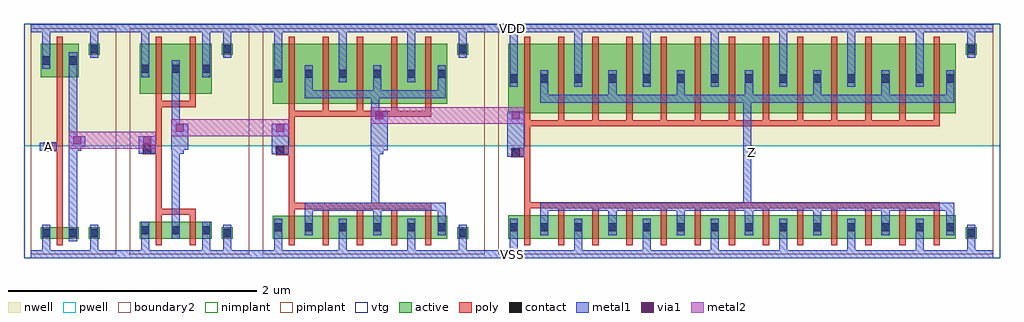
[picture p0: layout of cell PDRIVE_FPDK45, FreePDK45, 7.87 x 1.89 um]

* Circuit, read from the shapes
.subckt PDRIVE_FPDK45 A VDD VSS Z
M1 n1 A VSS VSS nfet w=0.09u l=0.05u
M2 n2 n1 VSS VSS nfet w=0.135u l=0.05u m=2
M3 n3 n2 VSS VSS nfet w=0.1825u l=0.05u m=5
M4 Z n3 VSS VSS nfet w=0.1875u l=0.05u m=13
M5 n1 A VDD VDD pfet w=0.27u l=0.05u
M6 n2 n1 VDD VDD pfet w=0.405u l=0.05u m=2
M7 n3 n2 VDD VDD pfet w=0.485u l=0.05u m=5
M8 Z n3 VDD VDD pfet w=0.56u l=0.05u m=13
.ends

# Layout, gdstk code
import gdstk
lib = gdstk.Library(unit=1e-6, precision=5e-10)
def R(c, l, rs):  # rectangles x0, y0, x1, y1
    for r in rs: c.add(gdstk.rectangle(r[:2], r[2:], *l))
def A(c, l, x, y, w, h, nx, ny, dx, dy):  # array of equal rectangles
    R(c, l, [(x+i*dx, y+j*dy, x+i*dx+w, y+j*dy+h) for i in range(nx) for j in range(ny)])
active = (1, 0)
pwell = (2, 0)
nwell = (3, 0)
nimplant = (4, 0)
pimplant = (5, 0)
vtg = (6, 0)
poly = (9, 0)
contact = (10, 0)
metal1 = (11, 0)
via1 = (12, 0)
metal2 = (13, 0)
boundary2 = (239, 0)

teamb_clone__inv1__pinv_ = lib.new_cell('TEAMB_CLONE__inv1__PINV_NW90_PW270_L50__TRANSMISSION_GATE_NW250_PW500_L50_contact_8')
R(teamb_clone__inv1__pinv_, active, [(0,0.0225,0.09,0.1125), (0,0.0225,0.09,0.1125), (0,0.0225,0.09,0.1125)])
R(teamb_clone__inv1__pinv_, nwell, [(-0.055,-0.0325,0.145,0.1675), (-0.055,-0.0325,0.145,0.1675), (-0.055,-0.0325,0.145,0.1675)])
R(teamb_clone__inv1__pinv_, pimplant, [(0,0.0225,0.09,0.1125), (0,0.0225,0.09,0.1125), (0,0.0225,0.09,0.1125)])
R(teamb_clone__inv1__pinv_, contact, [(0.0125,0.035,0.0775,0.1), (0.0125,0.035,0.0775,0.1), (0.0125,0.035,0.0775,0.1)])
R(teamb_clone__inv1__pinv_, metal1, [(0.0125,0,0.0775,0.135), (0.0125,0,0.0775,0.135), (0.0125,0,0.0775,0.135)])
R(teamb_clone__inv1__pinv_, boundary2, [(-0.055,-0.0325,0.145,0.1675), (-0.055,-0.0325,0.145,0.1675), (-0.055,-0.0325,0.145,0.1675)])

c_teamb_clone__inv1__pinv_ = lib.new_cell('TEAMB_CLONE__inv1__PINV_NW90_PW270_L50__PINV_NW180_PW270_L50_pmos_m1_w0_270_sm1_dm1_da_p')
R(c_teamb_clone__inv1__pinv_, active, [(0,0,0.305,0.27), (0,0,0.305,0.27), (0,0,0.305,0.27)])
R(c_teamb_clone__inv1__pinv_, nwell, [(-0.08,-0.08,0.385,0.35), (-0.08,-0.08,0.385,0.35), (-0.08,-0.08,0.385,0.35)])
R(c_teamb_clone__inv1__pinv_, pimplant, [(0,0,0.305,0.27), (0,0,0.305,0.27), (0,0,0.305,0.27)])
R(c_teamb_clone__inv1__pinv_, vtg, [(-0.08,-0.08,0.385,0.35), (-0.08,-0.08,0.385,0.35), (-0.08,-0.08,0.385,0.35)])
R(c_teamb_clone__inv1__pinv_, poly, [(0.1275,-0.055,0.1775,0.325), (0.1275,-0.055,0.1775,0.325), (0.1275,-0.055,0.1775,0.325), (0.1275,-0.055,0.1775,0.325), (0.1275,-0.055,0.1775,0.325), (0.1275,-0.055,0.1775,0.325)])
R(c_teamb_clone__inv1__pinv_, metal1, [(0.0125,0.0675,0.0775,0.2025), (0.0125,0.0675,0.0775,0.2025), (0.0125,0.0675,0.0775,0.2025), (0.2275,0.0675,0.2925,0.2025), (0.2275,0.0675,0.2925,0.2025), (0.2275,0.0675,0.2925,0.2025)])
R(c_teamb_clone__inv1__pinv_, boundary2, [(-0.08,-0.08,0.385,0.35), (-0.08,-0.08,0.385,0.35), (-0.08,-0.08,0.385,0.35)])
c_teamb_clone__inv1__pinv_.add(gdstk.Reference(teamb_clone__inv1__pinv_, (0,0.0675)))
c_teamb_clone__inv1__pinv_.add(gdstk.Reference(teamb_clone__inv1__pinv_, (0.215,0.0675)))

c_teamb_clone__inv1__pinv__ = lib.new_cell('TEAMB_CLONE__inv1__PINV_NW90_PW270_L50__TRANSMISSION_GATE_NW250_PW500_L50_contact_7')
R(c_teamb_clone__inv1__pinv__, active, [(0,0.0225,0.09,0.1125), (0,0.0225,0.09,0.1125), (0,0.0225,0.09,0.1125)])
R(c_teamb_clone__inv1__pinv__, pwell, [(-0.055,-0.0325,0.145,0.1675), (-0.055,-0.0325,0.145,0.1675), (-0.055,-0.0325,0.145,0.1675)])
R(c_teamb_clone__inv1__pinv__, nimplant, [(0,0.0225,0.09,0.1125), (0,0.0225,0.09,0.1125), (0,0.0225,0.09,0.1125)])
R(c_teamb_clone__inv1__pinv__, contact, [(0.0125,0.035,0.0775,0.1), (0.0125,0.035,0.0775,0.1), (0.0125,0.035,0.0775,0.1)])
R(c_teamb_clone__inv1__pinv__, metal1, [(0.0125,0,0.0775,0.135), (0.0125,0,0.0775,0.135), (0.0125,0,0.0775,0.135)])
R(c_teamb_clone__inv1__pinv__, boundary2, [(-0.055,-0.0325,0.145,0.1675), (-0.055,-0.0325,0.145,0.1675), (-0.055,-0.0325,0.145,0.1675)])

c_teamb_clone__inv1__pinv___ = lib.new_cell('TEAMB_CLONE__inv1__PINV_NW90_PW270_L50__PINV_NW90_PW270_L50_nmos_m1_w0_090_sm1_dm1_da_p')
R(c_teamb_clone__inv1__pinv___, active, [(0,0,0.305,0.09), (0,0,0.305,0.09), (0,0,0.305,0.09)])
R(c_teamb_clone__inv1__pinv___, pwell, [(-0.08,-0.08,0.385,0.17), (-0.08,-0.08,0.385,0.17), (-0.08,-0.08,0.385,0.17)])
R(c_teamb_clone__inv1__pinv___, nimplant, [(0,0,0.305,0.09), (0,0,0.305,0.09), (0,0,0.305,0.09)])
R(c_teamb_clone__inv1__pinv___, vtg, [(-0.08,-0.08,0.385,0.17), (-0.08,-0.08,0.385,0.17), (-0.08,-0.08,0.385,0.17)])
R(c_teamb_clone__inv1__pinv___, poly, [(0.1275,-0.055,0.1775,0.145), (0.1275,-0.055,0.1775,0.145), (0.1275,-0.055,0.1775,0.145), (0.1275,-0.055,0.1775,0.145), (0.1275,-0.055,0.1775,0.145), (0.1275,-0.055,0.1775,0.145)])
R(c_teamb_clone__inv1__pinv___, metal1, [(0.0125,-0.0225,0.0775,0.1125), (0.0125,-0.0225,0.0775,0.1125), (0.0125,-0.0225,0.0775,0.1125), (0.2275,-0.0225,0.2925,0.1125), (0.2275,-0.0225,0.2925,0.1125), (0.2275,-0.0225,0.2925,0.1125)])
R(c_teamb_clone__inv1__pinv___, boundary2, [(-0.08,-0.08,0.385,0.17), (-0.08,-0.08,0.385,0.17), (-0.08,-0.08,0.385,0.17)])
c_teamb_clone__inv1__pinv___.add(gdstk.Reference(c_teamb_clone__inv1__pinv__, (0,-0.0225)))
c_teamb_clone__inv1__pinv___.add(gdstk.Reference(c_teamb_clone__inv1__pinv__, (0.215,-0.0225)))

c_teamb_clone__inv1__pinv____ = lib.new_cell('TEAMB_CLONE__inv1__PINV_NW90_PW270_L50__TRANSMISSION_GATE_NW250_PW500_L50_contact_9')
R(c_teamb_clone__inv1__pinv____, active, [(0,0.0225,0.09,0.1125), (0,0.0225,0.09,0.1125), (0,0.0225,0.09,0.1125)])
R(c_teamb_clone__inv1__pinv____, nwell, [(-0.055,-0.0325,0.145,0.1675), (-0.055,-0.0325,0.145,0.1675), (-0.055,-0.0325,0.145,0.1675)])
R(c_teamb_clone__inv1__pinv____, nimplant, [(0,0.0225,0.09,0.1125), (0,0.0225,0.09,0.1125), (0,0.0225,0.09,0.1125)])
R(c_teamb_clone__inv1__pinv____, contact, [(0.0125,0.035,0.0775,0.1), (0.0125,0.035,0.0775,0.1), (0.0125,0.035,0.0775,0.1)])
R(c_teamb_clone__inv1__pinv____, metal1, [(0.0125,0,0.0775,0.135), (0.0125,0,0.0775,0.135), (0.0125,0,0.0775,0.135)])
R(c_teamb_clone__inv1__pinv____, boundary2, [(-0.055,-0.0325,0.145,0.1675), (-0.055,-0.0325,0.145,0.1675), (-0.055,-0.0325,0.145,0.1675)])

c_teamb_clone__inv1__pinv_____ = lib.new_cell('TEAMB_CLONE__inv1__PINV_NW90_PW270_L50__TRANSMISSION_GATE_NW250_PW500_L50_contact_10')
R(c_teamb_clone__inv1__pinv_____, active, [(0,0.0225,0.09,0.1125), (0,0.0225,0.09,0.1125), (0,0.0225,0.09,0.1125)])
R(c_teamb_clone__inv1__pinv_____, pwell, [(-0.055,-0.0325,0.145,0.1675), (-0.055,-0.0325,0.145,0.1675), (-0.055,-0.0325,0.145,0.1675)])
R(c_teamb_clone__inv1__pinv_____, pimplant, [(0,0.0225,0.09,0.1125), (0,0.0225,0.09,0.1125), (0,0.0225,0.09,0.1125)])
R(c_teamb_clone__inv1__pinv_____, contact, [(0.0125,0.035,0.0775,0.1), (0.0125,0.035,0.0775,0.1), (0.0125,0.035,0.0775,0.1)])
R(c_teamb_clone__inv1__pinv_____, metal1, [(0.0125,0,0.0775,0.135), (0.0125,0,0.0775,0.135), (0.0125,0,0.0775,0.135)])
R(c_teamb_clone__inv1__pinv_____, boundary2, [(-0.055,-0.0325,0.145,0.1675), (-0.055,-0.0325,0.145,0.1675), (-0.055,-0.0325,0.145,0.1675)])

c_teamb_clone__inv1__pinv______ = lib.new_cell('TEAMB_CLONE__inv1__PINV_NW90_PW270_L50__PINV_NW180_PW270_L50_contact_11')
R(c_teamb_clone__inv1__pinv______, poly, [(0.03,0,0.105,0.075), (0.03,0,0.105,0.075), (0.03,0,0.105,0.075)])
R(c_teamb_clone__inv1__pinv______, contact, [(0.035,0.005,0.1,0.07), (0.035,0.005,0.1,0.07), (0.035,0.005,0.1,0.07)])
R(c_teamb_clone__inv1__pinv______, metal1, [(0,0.005,0.135,0.07), (0,0.005,0.135,0.07), (0,0.005,0.135,0.07)])
R(c_teamb_clone__inv1__pinv______, boundary2, [(0,0,0.135,0.075), (0,0,0.135,0.075), (0,0,0.135,0.075)])

c_teamb_clone__inv1__pinv_______ = lib.new_cell('TEAMB_CLONE__inv1__PINV_NW90_PW270_L50__PINV_NW90_PW270_L50_core')
R(c_teamb_clone__inv1__pinv_______, pwell, [(-0.055,-0.0325,0.7425,0.8725), (-0.055,-0.0325,0.7425,0.8725), (-0.055,-0.0325,0.7425,0.8725)])
R(c_teamb_clone__inv1__pinv_______, nwell, [(-0.055,0.8725,0.7425,1.855), (-0.055,0.8725,0.7425,1.855), (-0.055,0.8725,0.7425,1.855)])
R(c_teamb_clone__inv1__pinv_______, vtg, [(-0.055,-0.0325,0.7425,0.8725), (-0.055,-0.0325,0.7425,0.8725), (-0.055,-0.0325,0.7425,0.8725), (-0.055,0.8725,0.7425,1.855), (-0.055,0.8725,0.7425,1.855), (-0.055,0.8725,0.7425,1.855)])
R(c_teamb_clone__inv1__pinv_______, poly, [(0.2075,0.27,0.2575,1.37), (0.2075,0.27,0.2575,1.37), (0.2075,0.27,0.2575,1.37), (0.14,0.8275,0.2075,0.9025), (0.14,0.8275,0.2075,0.9025), (0.14,0.8275,0.2075,0.9025)])
R(c_teamb_clone__inv1__pinv_______, metal1, [(0,-0.0325,0.6875,0.0325), (0,-0.0325,0.6875,0.0325), (0,-0.0325,0.6875,0.0325), (0.0925,-0.0325,0.1575,0.1025), (0.0925,-0.0325,0.1575,0.1025), (0.0925,-0.0325,0.1575,0.1025), (0.4775,0,0.5425,0.17), (0.4775,0,0.5425,0.17), (0.4775,0,0.5425,0.17), (0.3075,0.1025,0.3725,1.6275), (0.3075,0.1025,0.3725,1.6275), (0.3075,0.1025,0.3725,1.6275), (0.0725,0.8325,0.2075,0.8975), (0.0725,0.8325,0.2075,0.8975), (0.0725,0.8325,0.2075,0.8975), (0.34,0.8325,0.405,0.8975), (0.34,0.8325,0.405,0.8975), (0.34,0.8325,0.405,0.8975), (0.0925,1.4925,0.1575,1.8525), (0.0925,1.4925,0.1575,1.8525), (0.0925,1.4925,0.1575,1.8525), (0.4775,1.65,0.5425,1.82), (0.4775,1.65,0.5425,1.82), (0.4775,1.65,0.5425,1.82), (0,1.7875,0.6875,1.8525), (0,1.7875,0.6875,1.8525), (0,1.7875,0.6875,1.8525)])
R(c_teamb_clone__inv1__pinv_______, boundary2, [(0,0,0.6875,1.82), (0,0,0.6875,1.82), (0,0,0.6875,1.82), (0,0,0.6875,1.82), (0,0,0.6875,1.82), (0,0,0.6875,1.82)])
c_teamb_clone__inv1__pinv_______.add(gdstk.Reference(c_teamb_clone__inv1__pinv_, (0.08,1.425)))
c_teamb_clone__inv1__pinv_______.add(gdstk.Reference(c_teamb_clone__inv1__pinv___, (0.08,0.125)))
c_teamb_clone__inv1__pinv_______.add(gdstk.Reference(c_teamb_clone__inv1__pinv____, (0.465,1.5825)))
c_teamb_clone__inv1__pinv_______.add(gdstk.Reference(c_teamb_clone__inv1__pinv_____, (0.465,0.1025)))
c_teamb_clone__inv1__pinv_______.add(gdstk.Reference(c_teamb_clone__inv1__pinv______, (0.0725,0.8275)))

c_teamb_clone__inv1__pinv________ = lib.new_cell('TEAMB_CLONE__inv1__PINV_NW90_PW270_L50__PINV_NW90_PW270_L50')
R(c_teamb_clone__inv1__pinv________, metal1, [(0,-0.0325,0.6875,0.0325), (0,-0.0325,0.6875,0.0325), (0,-0.0325,0.6875,0.0325), (0.0725,0.8325,0.2075,0.8975), (0.0725,0.8325,0.2075,0.8975), (0.0725,0.8325,0.2075,0.8975), (0.34,0.8325,0.405,0.8975), (0.34,0.8325,0.405,0.8975), (0.34,0.8325,0.405,0.8975), (0,1.7875,0.6875,1.8525), (0,1.7875,0.6875,1.8525), (0,1.7875,0.6875,1.8525)])
R(c_teamb_clone__inv1__pinv________, boundary2, [(0,0,0.6875,1.82), (0,0,0.6875,1.82), (0,0,0.6875,1.82)])
c_teamb_clone__inv1__pinv________.add(gdstk.Reference(c_teamb_clone__inv1__pinv_______, (0,0)))

teamb_clone__inv2__pinv_ = lib.new_cell('TEAMB_CLONE__inv2__PINV_NW270_PW810_L50__TRANSMISSION_GATE_NW250_PW500_L50_contact_8')
R(teamb_clone__inv2__pinv_, active, [(0,0.0225,0.09,0.1125), (0,0.0225,0.09,0.1125)])
R(teamb_clone__inv2__pinv_, nwell, [(-0.055,-0.0325,0.145,0.1675), (-0.055,-0.0325,0.145,0.1675)])
R(teamb_clone__inv2__pinv_, pimplant, [(0,0.0225,0.09,0.1125), (0,0.0225,0.09,0.1125)])
R(teamb_clone__inv2__pinv_, contact, [(0.0125,0.035,0.0775,0.1), (0.0125,0.035,0.0775,0.1)])
R(teamb_clone__inv2__pinv_, metal1, [(0.0125,0,0.0775,0.135), (0.0125,0,0.0775,0.135)])
R(teamb_clone__inv2__pinv_, boundary2, [(-0.055,-0.0325,0.145,0.1675), (-0.055,-0.0325,0.145,0.1675)])

c_teamb_clone__inv2__pinv_ = lib.new_cell('TEAMB_CLONE__inv2__PINV_NW270_PW810_L50__PINV_NW270_PW810_L50_pmos_m2_w0_405_sm1_dm1_da_p')
R(c_teamb_clone__inv2__pinv_, active, [(0,0,0.58,0.405), (0,0,0.58,0.405)])
R(c_teamb_clone__inv2__pinv_, nwell, [(-0.08,-0.08,0.66,0.485), (-0.08,-0.08,0.66,0.485)])
R(c_teamb_clone__inv2__pinv_, pimplant, [(0,0,0.58,0.405), (0,0,0.58,0.405)])
R(c_teamb_clone__inv2__pinv_, vtg, [(-0.08,-0.08,0.66,0.485), (-0.08,-0.08,0.66,0.485)])
R(c_teamb_clone__inv2__pinv_, poly, [(0.1275,-0.105,0.4525,-0.055), (0.1275,-0.105,0.4525,-0.055), (0.1275,-0.055,0.1775,0.46), (0.1275,-0.055,0.1775,0.46), (0.4025,-0.055,0.4525,0.46), (0.4025,-0.055,0.4525,0.46)])
R(c_teamb_clone__inv2__pinv_, metal1, [(0.0125,0.135,0.0775,0.27), (0.0125,0.135,0.0775,0.27), (0.2575,0.135,0.3225,0.27), (0.2575,0.135,0.3225,0.27), (0.5025,0.135,0.5675,0.27), (0.5025,0.135,0.5675,0.27)])
R(c_teamb_clone__inv2__pinv_, boundary2, [(-0.08,-0.105,0.66,0.485), (-0.08,-0.105,0.66,0.485)])
c_teamb_clone__inv2__pinv_.add(gdstk.Reference(teamb_clone__inv2__pinv_, (0,0.135)))
c_teamb_clone__inv2__pinv_.add(gdstk.Reference(teamb_clone__inv2__pinv_, (0.245,0.135)))
c_teamb_clone__inv2__pinv_.add(gdstk.Reference(teamb_clone__inv2__pinv_, (0.49,0.135)))

c_teamb_clone__inv2__pinv__ = lib.new_cell('TEAMB_CLONE__inv2__PINV_NW270_PW810_L50__TRANSMISSION_GATE_NW250_PW500_L50_contact_7')
R(c_teamb_clone__inv2__pinv__, active, [(0,0.0225,0.09,0.1125), (0,0.0225,0.09,0.1125)])
R(c_teamb_clone__inv2__pinv__, pwell, [(-0.055,-0.0325,0.145,0.1675), (-0.055,-0.0325,0.145,0.1675)])
R(c_teamb_clone__inv2__pinv__, nimplant, [(0,0.0225,0.09,0.1125), (0,0.0225,0.09,0.1125)])
R(c_teamb_clone__inv2__pinv__, contact, [(0.0125,0.035,0.0775,0.1), (0.0125,0.035,0.0775,0.1)])
R(c_teamb_clone__inv2__pinv__, metal1, [(0.0125,0,0.0775,0.135), (0.0125,0,0.0775,0.135)])
R(c_teamb_clone__inv2__pinv__, boundary2, [(-0.055,-0.0325,0.145,0.1675), (-0.055,-0.0325,0.145,0.1675)])

c_teamb_clone__inv2__pinv___ = lib.new_cell('TEAMB_CLONE__inv2__PINV_NW270_PW810_L50__PINV_NW270_PW810_L50_nmos_m2_w0_135_sm1_dm1_da_p')
R(c_teamb_clone__inv2__pinv___, active, [(0,0,0.58,0.135), (0,0,0.58,0.135)])
R(c_teamb_clone__inv2__pinv___, pwell, [(-0.08,-0.08,0.66,0.215), (-0.08,-0.08,0.66,0.215)])
R(c_teamb_clone__inv2__pinv___, nimplant, [(0,0,0.58,0.135), (0,0,0.58,0.135)])
R(c_teamb_clone__inv2__pinv___, vtg, [(-0.08,-0.08,0.66,0.215), (-0.08,-0.08,0.66,0.215)])
R(c_teamb_clone__inv2__pinv___, poly, [(0.1275,-0.055,0.1775,0.19), (0.1275,-0.055,0.1775,0.19), (0.4025,-0.055,0.4525,0.19), (0.4025,-0.055,0.4525,0.19), (0.1275,0.19,0.4525,0.24), (0.1275,0.19,0.4525,0.24)])
R(c_teamb_clone__inv2__pinv___, metal1, [(0.0125,0,0.0775,0.135), (0.0125,0,0.0775,0.135), (0.2575,0,0.3225,0.135), (0.2575,0,0.3225,0.135), (0.5025,0,0.5675,0.135), (0.5025,0,0.5675,0.135)])
R(c_teamb_clone__inv2__pinv___, boundary2, [(-0.08,-0.08,0.66,0.24), (-0.08,-0.08,0.66,0.24)])
c_teamb_clone__inv2__pinv___.add(gdstk.Reference(c_teamb_clone__inv2__pinv__, (0,0)))
c_teamb_clone__inv2__pinv___.add(gdstk.Reference(c_teamb_clone__inv2__pinv__, (0.245,0)))
c_teamb_clone__inv2__pinv___.add(gdstk.Reference(c_teamb_clone__inv2__pinv__, (0.49,0)))

c_teamb_clone__inv2__pinv____ = lib.new_cell('TEAMB_CLONE__inv2__PINV_NW270_PW810_L50__TRANSMISSION_GATE_NW250_PW500_L50_contact_9')
R(c_teamb_clone__inv2__pinv____, active, [(0,0.0225,0.09,0.1125), (0,0.0225,0.09,0.1125)])
R(c_teamb_clone__inv2__pinv____, nwell, [(-0.055,-0.0325,0.145,0.1675), (-0.055,-0.0325,0.145,0.1675)])
R(c_teamb_clone__inv2__pinv____, nimplant, [(0,0.0225,0.09,0.1125), (0,0.0225,0.09,0.1125)])
R(c_teamb_clone__inv2__pinv____, contact, [(0.0125,0.035,0.0775,0.1), (0.0125,0.035,0.0775,0.1)])
R(c_teamb_clone__inv2__pinv____, metal1, [(0.0125,0,0.0775,0.135), (0.0125,0,0.0775,0.135)])
R(c_teamb_clone__inv2__pinv____, boundary2, [(-0.055,-0.0325,0.145,0.1675), (-0.055,-0.0325,0.145,0.1675)])

c_teamb_clone__inv2__pinv_____ = lib.new_cell('TEAMB_CLONE__inv2__PINV_NW270_PW810_L50__TRANSMISSION_GATE_NW250_PW500_L50_contact_10')
R(c_teamb_clone__inv2__pinv_____, active, [(0,0.0225,0.09,0.1125), (0,0.0225,0.09,0.1125)])
R(c_teamb_clone__inv2__pinv_____, pwell, [(-0.055,-0.0325,0.145,0.1675), (-0.055,-0.0325,0.145,0.1675)])
R(c_teamb_clone__inv2__pinv_____, pimplant, [(0,0.0225,0.09,0.1125), (0,0.0225,0.09,0.1125)])
R(c_teamb_clone__inv2__pinv_____, contact, [(0.0125,0.035,0.0775,0.1), (0.0125,0.035,0.0775,0.1)])
R(c_teamb_clone__inv2__pinv_____, metal1, [(0.0125,0,0.0775,0.135), (0.0125,0,0.0775,0.135)])
R(c_teamb_clone__inv2__pinv_____, boundary2, [(-0.055,-0.0325,0.145,0.1675), (-0.055,-0.0325,0.145,0.1675)])

c_teamb_clone__inv2__pinv______ = lib.new_cell('TEAMB_CLONE__inv2__PINV_NW270_PW810_L50__PINV_NW180_PW270_L50_contact_11')
R(c_teamb_clone__inv2__pinv______, poly, [(0.03,0,0.105,0.075), (0.03,0,0.105,0.075)])
R(c_teamb_clone__inv2__pinv______, contact, [(0.035,0.005,0.1,0.07), (0.035,0.005,0.1,0.07)])
R(c_teamb_clone__inv2__pinv______, metal1, [(0,0.005,0.135,0.07), (0,0.005,0.135,0.07)])
R(c_teamb_clone__inv2__pinv______, boundary2, [(0,0,0.135,0.075), (0,0,0.135,0.075)])

c_teamb_clone__inv2__pinv_______ = lib.new_cell('TEAMB_CLONE__inv2__PINV_NW270_PW810_L50__PINV_NW270_PW810_L50_core')
R(c_teamb_clone__inv2__pinv_______, pwell, [(-0.055,-0.0325,1.0175,0.8725), (-0.055,-0.0325,1.0175,0.8725)])
R(c_teamb_clone__inv2__pinv_______, nwell, [(-0.055,0.8725,1.0175,1.855), (-0.055,0.8725,1.0175,1.855)])
R(c_teamb_clone__inv2__pinv_______, vtg, [(-0.055,-0.0325,1.0175,0.8725), (-0.055,-0.0325,1.0175,0.8725), (-0.055,0.8725,1.0175,1.855), (-0.055,0.8725,1.0175,1.855)])
R(c_teamb_clone__inv2__pinv_______, poly, [(0.2075,0.365,0.2575,1.185), (0.2075,0.365,0.2575,1.185), (0.14,0.805,0.2075,0.88), (0.14,0.805,0.2075,0.88)])
R(c_teamb_clone__inv2__pinv_______, metal1, [(0,-0.0325,0.9625,0.0325), (0,-0.0325,0.9625,0.0325), (0.0925,-0.0325,0.1575,0.125), (0.0925,-0.0325,0.1575,0.125), (0.5825,-0.0325,0.6475,0.125), (0.5825,-0.0325,0.6475,0.125), (0.7525,0,0.8175,0.17), (0.7525,0,0.8175,0.17), (0.3375,0.125,0.4025,1.56), (0.3375,0.125,0.4025,1.56), (0.0725,0.81,0.2075,0.875), (0.0725,0.81,0.2075,0.875), (0.37,0.81,0.435,0.875), (0.37,0.81,0.435,0.875), (0.0925,1.425,0.1575,1.8525), (0.0925,1.425,0.1575,1.8525), (0.5825,1.425,0.6475,1.8525), (0.5825,1.425,0.6475,1.8525), (0.7525,1.65,0.8175,1.82), (0.7525,1.65,0.8175,1.82), (0,1.7875,0.9625,1.8525), (0,1.7875,0.9625,1.8525)])
R(c_teamb_clone__inv2__pinv_______, boundary2, [(0,0,0.9625,1.82), (0,0,0.9625,1.82), (0,0,0.9625,1.82), (0,0,0.9625,1.82)])
c_teamb_clone__inv2__pinv_______.add(gdstk.Reference(c_teamb_clone__inv2__pinv_, (0.08,1.29)))
c_teamb_clone__inv2__pinv_______.add(gdstk.Reference(c_teamb_clone__inv2__pinv___, (0.08,0.125)))
c_teamb_clone__inv2__pinv_______.add(gdstk.Reference(c_teamb_clone__inv2__pinv____, (0.74,1.5825)))
c_teamb_clone__inv2__pinv_______.add(gdstk.Reference(c_teamb_clone__inv2__pinv_____, (0.74,0.1025)))
c_teamb_clone__inv2__pinv_______.add(gdstk.Reference(c_teamb_clone__inv2__pinv______, (0.0725,0.805)))

c_teamb_clone__inv2__pinv________ = lib.new_cell('TEAMB_CLONE__inv2__PINV_NW270_PW810_L50__PINV_NW270_PW810_L50')
R(c_teamb_clone__inv2__pinv________, metal1, [(0,-0.0325,0.9625,0.0325), (0,-0.0325,0.9625,0.0325), (0.0725,0.81,0.2075,0.875), (0.0725,0.81,0.2075,0.875), (0.37,0.81,0.435,0.875), (0.37,0.81,0.435,0.875), (0,1.7875,0.9625,1.8525), (0,1.7875,0.9625,1.8525)])
R(c_teamb_clone__inv2__pinv________, boundary2, [(0,0,0.9625,1.82), (0,0,0.9625,1.82)])
c_teamb_clone__inv2__pinv________.add(gdstk.Reference(c_teamb_clone__inv2__pinv_______, (0,0)))

teamb_clone__inv3__pinv_ = lib.new_cell('TEAMB_CLONE__inv3__PINV_NW910_PW2430_L50__TRANSMISSION_GATE_NW250_PW500_L50_contact_8')
R(teamb_clone__inv3__pinv_, active, [(0,0.0225,0.09,0.1125)])
R(teamb_clone__inv3__pinv_, nwell, [(-0.055,-0.0325,0.145,0.1675)])
R(teamb_clone__inv3__pinv_, pimplant, [(0,0.0225,0.09,0.1125)])
R(teamb_clone__inv3__pinv_, contact, [(0.0125,0.035,0.0775,0.1)])
R(teamb_clone__inv3__pinv_, metal1, [(0.0125,0,0.0775,0.135)])
R(teamb_clone__inv3__pinv_, boundary2, [(-0.055,-0.0325,0.145,0.1675)])

c_teamb_clone__inv3__pinv_ = lib.new_cell('TEAMB_CLONE__inv3__PINV_NW910_PW2430_L50__PINV_NW910_PW2430_L50_pmos_m5_w0_485_sm1_dm1_da_p')
R(c_teamb_clone__inv3__pinv_, active, [(0,0,1.405,0.485)])
R(c_teamb_clone__inv3__pinv_, nwell, [(-0.08,-0.08,1.485,0.565)])
R(c_teamb_clone__inv3__pinv_, pimplant, [(0,0,1.405,0.485)])
R(c_teamb_clone__inv3__pinv_, vtg, [(-0.08,-0.08,1.485,0.565)])
A(c_teamb_clone__inv3__pinv_, poly, 0.1275, -0.055, 0.05, 0.595, 5, 1, 0.275, 0)
R(c_teamb_clone__inv3__pinv_, poly, [(0.1275,-0.105,1.2775,-0.055)])
R(c_teamb_clone__inv3__pinv_, metal1, [(0.2575,0.045,1.3925,0.11), (0.2575,0.0775,0.3225,0.2425), (0.8075,0.0775,0.8725,0.2425), (1.3275,0.0775,1.3925,0.2425), (0.0125,0.175,0.0775,0.31), (0.5325,0.175,0.5975,0.31), (1.0825,0.175,1.1475,0.31)])
R(c_teamb_clone__inv3__pinv_, boundary2, [(-0.08,-0.105,1.485,0.565)])
c_teamb_clone__inv3__pinv_.add(gdstk.Reference(teamb_clone__inv3__pinv_, (0,0.175)))
c_teamb_clone__inv3__pinv_.add(gdstk.Reference(teamb_clone__inv3__pinv_, (0.245,0.175)))
c_teamb_clone__inv3__pinv_.add(gdstk.Reference(teamb_clone__inv3__pinv_, (0.52,0.175)))
c_teamb_clone__inv3__pinv_.add(gdstk.Reference(teamb_clone__inv3__pinv_, (0.795,0.175)))
c_teamb_clone__inv3__pinv_.add(gdstk.Reference(teamb_clone__inv3__pinv_, (1.07,0.175)))
c_teamb_clone__inv3__pinv_.add(gdstk.Reference(teamb_clone__inv3__pinv_, (1.315,0.175)))

c_teamb_clone__inv3__pinv__ = lib.new_cell('TEAMB_CLONE__inv3__PINV_NW910_PW2430_L50__TRANSMISSION_GATE_NW250_PW500_L50_contact_7')
R(c_teamb_clone__inv3__pinv__, active, [(0,0.0225,0.09,0.1125)])
R(c_teamb_clone__inv3__pinv__, pwell, [(-0.055,-0.0325,0.145,0.1675)])
R(c_teamb_clone__inv3__pinv__, nimplant, [(0,0.0225,0.09,0.1125)])
R(c_teamb_clone__inv3__pinv__, contact, [(0.0125,0.035,0.0775,0.1)])
R(c_teamb_clone__inv3__pinv__, metal1, [(0.0125,0,0.0775,0.135)])
R(c_teamb_clone__inv3__pinv__, boundary2, [(-0.055,-0.0325,0.145,0.1675)])

c_teamb_clone__inv3__pinv___ = lib.new_cell('TEAMB_CLONE__inv3__PINV_NW910_PW2430_L50__PINV_NW910_PW2430_L50_nmos_m5_w0_182_sm1_dm1_da_p')
R(c_teamb_clone__inv3__pinv___, active, [(0,0,1.405,0.1825)])
R(c_teamb_clone__inv3__pinv___, pwell, [(-0.08,-0.08,1.485,0.2625)])
R(c_teamb_clone__inv3__pinv___, nimplant, [(0,0,1.405,0.1825)])
R(c_teamb_clone__inv3__pinv___, vtg, [(-0.08,-0.08,1.485,0.2625)])
A(c_teamb_clone__inv3__pinv___, poly, 0.1275, -0.055, 0.05, 0.2925, 5, 1, 0.275, 0)
R(c_teamb_clone__inv3__pinv___, poly, [(0.1275,0.2375,1.2775,0.2875)])
R(c_teamb_clone__inv3__pinv___, metal1, [(0.0125,0.025,0.0775,0.16), (0.5325,0.025,0.5975,0.16), (1.0825,0.025,1.1475,0.16), (0.2575,0.09,0.3225,0.255), (0.8075,0.09,0.8725,0.255), (1.3275,0.09,1.3925,0.255), (0.2575,0.225,1.3925,0.29)])
R(c_teamb_clone__inv3__pinv___, boundary2, [(-0.08,-0.08,1.485,0.29)])
c_teamb_clone__inv3__pinv___.add(gdstk.Reference(c_teamb_clone__inv3__pinv__, (0,0.025)))
c_teamb_clone__inv3__pinv___.add(gdstk.Reference(c_teamb_clone__inv3__pinv__, (0.245,0.025)))
c_teamb_clone__inv3__pinv___.add(gdstk.Reference(c_teamb_clone__inv3__pinv__, (0.52,0.025)))
c_teamb_clone__inv3__pinv___.add(gdstk.Reference(c_teamb_clone__inv3__pinv__, (0.795,0.025)))
c_teamb_clone__inv3__pinv___.add(gdstk.Reference(c_teamb_clone__inv3__pinv__, (1.07,0.025)))
c_teamb_clone__inv3__pinv___.add(gdstk.Reference(c_teamb_clone__inv3__pinv__, (1.315,0.025)))

c_teamb_clone__inv3__pinv____ = lib.new_cell('TEAMB_CLONE__inv3__PINV_NW910_PW2430_L50__TRANSMISSION_GATE_NW250_PW500_L50_contact_9')
R(c_teamb_clone__inv3__pinv____, active, [(0,0.0225,0.09,0.1125)])
R(c_teamb_clone__inv3__pinv____, nwell, [(-0.055,-0.0325,0.145,0.1675)])
R(c_teamb_clone__inv3__pinv____, nimplant, [(0,0.0225,0.09,0.1125)])
R(c_teamb_clone__inv3__pinv____, contact, [(0.0125,0.035,0.0775,0.1)])
R(c_teamb_clone__inv3__pinv____, metal1, [(0.0125,0,0.0775,0.135)])
R(c_teamb_clone__inv3__pinv____, boundary2, [(-0.055,-0.0325,0.145,0.1675)])

c_teamb_clone__inv3__pinv_____ = lib.new_cell('TEAMB_CLONE__inv3__PINV_NW910_PW2430_L50__TRANSMISSION_GATE_NW250_PW500_L50_contact_10')
R(c_teamb_clone__inv3__pinv_____, active, [(0,0.0225,0.09,0.1125)])
R(c_teamb_clone__inv3__pinv_____, pwell, [(-0.055,-0.0325,0.145,0.1675)])
R(c_teamb_clone__inv3__pinv_____, pimplant, [(0,0.0225,0.09,0.1125)])
R(c_teamb_clone__inv3__pinv_____, contact, [(0.0125,0.035,0.0775,0.1)])
R(c_teamb_clone__inv3__pinv_____, metal1, [(0.0125,0,0.0775,0.135)])
R(c_teamb_clone__inv3__pinv_____, boundary2, [(-0.055,-0.0325,0.145,0.1675)])

c_teamb_clone__inv3__pinv______ = lib.new_cell('TEAMB_CLONE__inv3__PINV_NW910_PW2430_L50__PINV_NW180_PW270_L50_contact_11')
R(c_teamb_clone__inv3__pinv______, poly, [(0.03,0,0.105,0.075)])
R(c_teamb_clone__inv3__pinv______, contact, [(0.035,0.005,0.1,0.07)])
R(c_teamb_clone__inv3__pinv______, metal1, [(0,0.005,0.135,0.07)])
R(c_teamb_clone__inv3__pinv______, boundary2, [(0,0,0.135,0.075)])

c_teamb_clone__inv3__pinv_______ = lib.new_cell('TEAMB_CLONE__inv3__PINV_NW910_PW2430_L50__PINV_NW910_PW2430_L50_core')
R(c_teamb_clone__inv3__pinv_______, pwell, [(-0.055,-0.0325,1.8425,0.8725)])
R(c_teamb_clone__inv3__pinv_______, nwell, [(-0.055,0.8725,1.8425,1.855)])
R(c_teamb_clone__inv3__pinv_______, vtg, [(-0.055,-0.0325,1.8425,0.8725), (-0.055,0.8725,1.8425,1.855)])
R(c_teamb_clone__inv3__pinv_______, poly, [(0.2075,0.4125,0.2575,1.105), (0.14,0.7975,0.2075,0.8725)])
R(c_teamb_clone__inv3__pinv_______, metal1, [(0,-0.0325,1.7875,0.0325), (0.0925,-0.0325,0.1575,0.15), (0.6125,-0.0325,0.6775,0.15), (1.1625,-0.0325,1.2275,0.15), (1.5775,0,1.6425,0.17), (0.8725,0.35,0.9375,1.32), (0.0725,0.8025,0.2075,0.8675), (0.905,0.8025,0.97,0.8675), (0.0925,1.385,0.1575,1.8525), (0.6125,1.385,0.6775,1.8525), (1.1625,1.385,1.2275,1.8525), (1.5775,1.65,1.6425,1.82), (0,1.7875,1.7875,1.8525)])
R(c_teamb_clone__inv3__pinv_______, boundary2, [(0,0,1.7875,1.82), (0,0,1.7875,1.82)])
c_teamb_clone__inv3__pinv_______.add(gdstk.Reference(c_teamb_clone__inv3__pinv_, (0.08,1.21)))
c_teamb_clone__inv3__pinv_______.add(gdstk.Reference(c_teamb_clone__inv3__pinv___, (0.08,0.125)))
c_teamb_clone__inv3__pinv_______.add(gdstk.Reference(c_teamb_clone__inv3__pinv____, (1.565,1.5825)))
c_teamb_clone__inv3__pinv_______.add(gdstk.Reference(c_teamb_clone__inv3__pinv_____, (1.565,0.1025)))
c_teamb_clone__inv3__pinv_______.add(gdstk.Reference(c_teamb_clone__inv3__pinv______, (0.0725,0.7975)))

c_teamb_clone__inv3__pinv________ = lib.new_cell('TEAMB_CLONE__inv3__PINV_NW910_PW2430_L50__PINV_NW910_PW2430_L50')
R(c_teamb_clone__inv3__pinv________, metal1, [(0,-0.0325,1.7875,0.0325), (0.0725,0.8025,0.2075,0.8675), (0.905,0.8025,0.97,0.8675), (0,1.7875,1.7875,1.8525)])
R(c_teamb_clone__inv3__pinv________, boundary2, [(0,0,1.7875,1.82)])
c_teamb_clone__inv3__pinv________.add(gdstk.Reference(c_teamb_clone__inv3__pinv_______, (0,0)))

teamb_clone__inv4__pinv_ = lib.new_cell('TEAMB_CLONE__inv4__PINV_NW2430_PW7290_L50__TRANSMISSION_GATE_NW250_PW500_L50_contact_8')
R(teamb_clone__inv4__pinv_, active, [(0,0.0225,0.09,0.1125)])
R(teamb_clone__inv4__pinv_, nwell, [(-0.055,-0.0325,0.145,0.1675)])
R(teamb_clone__inv4__pinv_, pimplant, [(0,0.0225,0.09,0.1125)])
R(teamb_clone__inv4__pinv_, contact, [(0.0125,0.035,0.0775,0.1)])
R(teamb_clone__inv4__pinv_, metal1, [(0.0125,0,0.0775,0.135)])
R(teamb_clone__inv4__pinv_, boundary2, [(-0.055,-0.0325,0.145,0.1675)])

c_teamb_clone__inv4__pinv_ = lib.new_cell('TEAMB_CLONE__inv4__PINV_NW2430_PW7290_L50__PINV_NW2430_PW7290_L50_pmos_m13_w0_560_sm1_dm1_da_p')
R(c_teamb_clone__inv4__pinv_, active, [(0,0,3.605,0.56)])
R(c_teamb_clone__inv4__pinv_, nwell, [(-0.08,-0.08,3.685,0.64)])
R(c_teamb_clone__inv4__pinv_, pimplant, [(0,0,3.605,0.56)])
R(c_teamb_clone__inv4__pinv_, vtg, [(-0.08,-0.08,3.685,0.64)])
A(c_teamb_clone__inv4__pinv_, poly, 0.1275, -0.055, 0.05, 0.67, 13, 1, 0.275, 0)
R(c_teamb_clone__inv4__pinv_, poly, [(0.1275,-0.105,3.4775,-0.055)])
A(c_teamb_clone__inv4__pinv_, metal1, 0.2575, 0.115, 0.065, 0.165, 6, 1, 0.55, 0)
A(c_teamb_clone__inv4__pinv_, metal1, 0.5325, 0.2125, 0.065, 0.135, 6, 1, 0.55, 0)
R(c_teamb_clone__inv4__pinv_, metal1, [(0.2575,0.0825,3.5925,0.1475), (3.5275,0.115,3.5925,0.28), (0.0125,0.2125,0.0775,0.3475)])
R(c_teamb_clone__inv4__pinv_, boundary2, [(-0.08,-0.105,3.685,0.64)])
c_teamb_clone__inv4__pinv_.add(gdstk.Reference(teamb_clone__inv4__pinv_, (0,0.2125)))
c_teamb_clone__inv4__pinv_.add(gdstk.Reference(teamb_clone__inv4__pinv_, (0.245,0.2125)))
c_teamb_clone__inv4__pinv_.add(gdstk.Reference(teamb_clone__inv4__pinv_, (0.52,0.2125)))
c_teamb_clone__inv4__pinv_.add(gdstk.Reference(teamb_clone__inv4__pinv_, (0.795,0.2125)))
c_teamb_clone__inv4__pinv_.add(gdstk.Reference(teamb_clone__inv4__pinv_, (1.07,0.2125)))
c_teamb_clone__inv4__pinv_.add(gdstk.Reference(teamb_clone__inv4__pinv_, (1.345,0.2125)))
c_teamb_clone__inv4__pinv_.add(gdstk.Reference(teamb_clone__inv4__pinv_, (1.62,0.2125)))
c_teamb_clone__inv4__pinv_.add(gdstk.Reference(teamb_clone__inv4__pinv_, (1.895,0.2125)))
c_teamb_clone__inv4__pinv_.add(gdstk.Reference(teamb_clone__inv4__pinv_, (2.17,0.2125)))
c_teamb_clone__inv4__pinv_.add(gdstk.Reference(teamb_clone__inv4__pinv_, (2.445,0.2125)))
c_teamb_clone__inv4__pinv_.add(gdstk.Reference(teamb_clone__inv4__pinv_, (2.72,0.2125)))
c_teamb_clone__inv4__pinv_.add(gdstk.Reference(teamb_clone__inv4__pinv_, (2.995,0.2125)))
c_teamb_clone__inv4__pinv_.add(gdstk.Reference(teamb_clone__inv4__pinv_, (3.27,0.2125)))
c_teamb_clone__inv4__pinv_.add(gdstk.Reference(teamb_clone__inv4__pinv_, (3.515,0.2125)))

c_teamb_clone__inv4__pinv__ = lib.new_cell('TEAMB_CLONE__inv4__PINV_NW2430_PW7290_L50__TRANSMISSION_GATE_NW250_PW500_L50_contact_7')
R(c_teamb_clone__inv4__pinv__, active, [(0,0.0225,0.09,0.1125)])
R(c_teamb_clone__inv4__pinv__, pwell, [(-0.055,-0.0325,0.145,0.1675)])
R(c_teamb_clone__inv4__pinv__, nimplant, [(0,0.0225,0.09,0.1125)])
R(c_teamb_clone__inv4__pinv__, contact, [(0.0125,0.035,0.0775,0.1)])
R(c_teamb_clone__inv4__pinv__, metal1, [(0.0125,0,0.0775,0.135)])
R(c_teamb_clone__inv4__pinv__, boundary2, [(-0.055,-0.0325,0.145,0.1675)])

c_teamb_clone__inv4__pinv___ = lib.new_cell('TEAMB_CLONE__inv4__PINV_NW2430_PW7290_L50__PINV_NW2430_PW7290_L50_nmos_m13_w0_188_sm1_dm1_da_p')
R(c_teamb_clone__inv4__pinv___, active, [(0,0,3.605,0.1875)])
R(c_teamb_clone__inv4__pinv___, pwell, [(-0.08,-0.08,3.685,0.2675)])
R(c_teamb_clone__inv4__pinv___, nimplant, [(0,0,3.605,0.1875)])
R(c_teamb_clone__inv4__pinv___, vtg, [(-0.08,-0.08,3.685,0.2675)])
A(c_teamb_clone__inv4__pinv___, poly, 0.1275, -0.055, 0.05, 0.2975, 13, 1, 0.275, 0)
R(c_teamb_clone__inv4__pinv___, poly, [(0.1275,0.2425,3.4775,0.2925)])
A(c_teamb_clone__inv4__pinv___, metal1, 0.5325, 0.025, 0.065, 0.135, 6, 1, 0.55, 0)
A(c_teamb_clone__inv4__pinv___, metal1, 0.2575, 0.095, 0.065, 0.165, 6, 1, 0.55, 0)
R(c_teamb_clone__inv4__pinv___, metal1, [(0.0125,0.025,0.0775,0.16), (3.5275,0.095,3.5925,0.26), (0.2575,0.225,3.5925,0.29)])
R(c_teamb_clone__inv4__pinv___, boundary2, [(-0.08,-0.08,3.685,0.2925)])
c_teamb_clone__inv4__pinv___.add(gdstk.Reference(c_teamb_clone__inv4__pinv__, (0,0.025)))
c_teamb_clone__inv4__pinv___.add(gdstk.Reference(c_teamb_clone__inv4__pinv__, (0.245,0.025)))
c_teamb_clone__inv4__pinv___.add(gdstk.Reference(c_teamb_clone__inv4__pinv__, (0.52,0.025)))
c_teamb_clone__inv4__pinv___.add(gdstk.Reference(c_teamb_clone__inv4__pinv__, (0.795,0.025)))
c_teamb_clone__inv4__pinv___.add(gdstk.Reference(c_teamb_clone__inv4__pinv__, (1.07,0.025)))
c_teamb_clone__inv4__pinv___.add(gdstk.Reference(c_teamb_clone__inv4__pinv__, (1.345,0.025)))
c_teamb_clone__inv4__pinv___.add(gdstk.Reference(c_teamb_clone__inv4__pinv__, (1.62,0.025)))
c_teamb_clone__inv4__pinv___.add(gdstk.Reference(c_teamb_clone__inv4__pinv__, (1.895,0.025)))
c_teamb_clone__inv4__pinv___.add(gdstk.Reference(c_teamb_clone__inv4__pinv__, (2.17,0.025)))
c_teamb_clone__inv4__pinv___.add(gdstk.Reference(c_teamb_clone__inv4__pinv__, (2.445,0.025)))
c_teamb_clone__inv4__pinv___.add(gdstk.Reference(c_teamb_clone__inv4__pinv__, (2.72,0.025)))
c_teamb_clone__inv4__pinv___.add(gdstk.Reference(c_teamb_clone__inv4__pinv__, (2.995,0.025)))
c_teamb_clone__inv4__pinv___.add(gdstk.Reference(c_teamb_clone__inv4__pinv__, (3.27,0.025)))
c_teamb_clone__inv4__pinv___.add(gdstk.Reference(c_teamb_clone__inv4__pinv__, (3.515,0.025)))

c_teamb_clone__inv4__pinv____ = lib.new_cell('TEAMB_CLONE__inv4__PINV_NW2430_PW7290_L50__TRANSMISSION_GATE_NW250_PW500_L50_contact_9')
R(c_teamb_clone__inv4__pinv____, active, [(0,0.0225,0.09,0.1125)])
R(c_teamb_clone__inv4__pinv____, nwell, [(-0.055,-0.0325,0.145,0.1675)])
R(c_teamb_clone__inv4__pinv____, nimplant, [(0,0.0225,0.09,0.1125)])
R(c_teamb_clone__inv4__pinv____, contact, [(0.0125,0.035,0.0775,0.1)])
R(c_teamb_clone__inv4__pinv____, metal1, [(0.0125,0,0.0775,0.135)])
R(c_teamb_clone__inv4__pinv____, boundary2, [(-0.055,-0.0325,0.145,0.1675)])

c_teamb_clone__inv4__pinv_____ = lib.new_cell('TEAMB_CLONE__inv4__PINV_NW2430_PW7290_L50__TRANSMISSION_GATE_NW250_PW500_L50_contact_10')
R(c_teamb_clone__inv4__pinv_____, active, [(0,0.0225,0.09,0.1125)])
R(c_teamb_clone__inv4__pinv_____, pwell, [(-0.055,-0.0325,0.145,0.1675)])
R(c_teamb_clone__inv4__pinv_____, pimplant, [(0,0.0225,0.09,0.1125)])
R(c_teamb_clone__inv4__pinv_____, contact, [(0.0125,0.035,0.0775,0.1)])
R(c_teamb_clone__inv4__pinv_____, metal1, [(0.0125,0,0.0775,0.135)])
R(c_teamb_clone__inv4__pinv_____, boundary2, [(-0.055,-0.0325,0.145,0.1675)])

c_teamb_clone__inv4__pinv______ = lib.new_cell('TEAMB_CLONE__inv4__PINV_NW2430_PW7290_L50__PINV_NW180_PW270_L50_contact_11')
R(c_teamb_clone__inv4__pinv______, poly, [(0.03,0,0.105,0.075)])
R(c_teamb_clone__inv4__pinv______, contact, [(0.035,0.005,0.1,0.07)])
R(c_teamb_clone__inv4__pinv______, metal1, [(0,0.005,0.135,0.07)])
R(c_teamb_clone__inv4__pinv______, boundary2, [(0,0,0.135,0.075)])

c_teamb_clone__inv4__pinv_______ = lib.new_cell('TEAMB_CLONE__inv4__PINV_NW2430_PW7290_L50__PINV_NW2430_PW7290_L50_core')
R(c_teamb_clone__inv4__pinv_______, pwell, [(-0.055,-0.0325,4.0425,0.8725)])
R(c_teamb_clone__inv4__pinv_______, nwell, [(-0.055,0.8725,4.0425,1.855)])
R(c_teamb_clone__inv4__pinv_______, vtg, [(-0.055,-0.0325,4.0425,0.8725), (-0.055,0.8725,4.0425,1.855)])
R(c_teamb_clone__inv4__pinv_______, poly, [(0.2075,0.4175,0.2575,1.03), (0.14,0.78,0.2075,0.855)])
A(c_teamb_clone__inv4__pinv_______, metal1, 0.6125, -0.0325, 0.065, 0.1825, 6, 1, 0.55, 0)
A(c_teamb_clone__inv4__pinv_______, metal1, 0.6125, 1.3475, 0.065, 0.505, 6, 1, 0.55, 0)
R(c_teamb_clone__inv4__pinv_______, metal1, [(0,-0.0325,3.9875,0.0325), (0.0925,-0.0325,0.1575,0.15), (3.7775,0,3.8425,0.17), (1.9725,0.35,2.0375,1.2825), (0.0725,0.785,0.2075,0.85), (2.005,0.785,2.07,0.85), (0.0925,1.3475,0.1575,1.8525), (3.7775,1.65,3.8425,1.82), (0,1.7875,3.9875,1.8525)])
R(c_teamb_clone__inv4__pinv_______, boundary2, [(0,0,3.9875,1.82), (0,0,3.9875,1.82)])
c_teamb_clone__inv4__pinv_______.add(gdstk.Reference(c_teamb_clone__inv4__pinv_, (0.08,1.135)))
c_teamb_clone__inv4__pinv_______.add(gdstk.Reference(c_teamb_clone__inv4__pinv___, (0.08,0.125)))
c_teamb_clone__inv4__pinv_______.add(gdstk.Reference(c_teamb_clone__inv4__pinv____, (3.765,1.5825)))
c_teamb_clone__inv4__pinv_______.add(gdstk.Reference(c_teamb_clone__inv4__pinv_____, (3.765,0.1025)))
c_teamb_clone__inv4__pinv_______.add(gdstk.Reference(c_teamb_clone__inv4__pinv______, (0.0725,0.78)))

c_teamb_clone__inv4__pinv________ = lib.new_cell('TEAMB_CLONE__inv4__PINV_NW2430_PW7290_L50__PINV_NW2430_PW7290_L50')
R(c_teamb_clone__inv4__pinv________, metal1, [(0,-0.0325,3.9875,0.0325), (0.0725,0.785,0.2075,0.85), (2.005,0.785,2.07,0.85), (0,1.7875,3.9875,1.8525)])
R(c_teamb_clone__inv4__pinv________, boundary2, [(0,0,3.9875,1.82)])
c_teamb_clone__inv4__pinv________.add(gdstk.Reference(c_teamb_clone__inv4__pinv_______, (0,0)))

pdrive_fpdk45 = lib.new_cell('PDRIVE_FPDK45')
R(pdrive_fpdk45, metal1, [(0.055,0,7.81,0.065), (3.895,0.85,4.03,1.1825), (1.9975,0.8675,2.1325,1.0825), (2.795,0.8675,2.93,1.1825), (0.925,0.875,1.06,0.9825), (1.1875,0.875,1.3225,1.0825), (0.36,0.8975,0.495,0.9825), (0.055,1.82,7.81,1.885)])
R(pdrive_fpdk45, via1, [(0.395,0.9175,0.46,0.9825), (0.96,0.9175,1.025,0.9825), (1.2225,1.0175,1.2875,1.0825), (2.0325,1.0175,2.0975,1.0825), (2.83,1.1175,2.895,1.1825), (3.93,1.1175,3.995,1.1825)])
R(pdrive_fpdk45, metal2, [(0.36,0.8825,0.495,1.0175), (0.4275,0.8825,0.9925,1.0175), (0.925,0.8825,1.06,1.0175), (1.1875,0.9825,1.3225,1.1175), (1.255,0.9825,2.065,1.1175), (1.9975,0.9825,2.1325,1.1175), (2.795,1.0825,2.93,1.2175), (2.8625,1.0825,3.9625,1.2175), (3.895,1.0825,4.03,1.2175)])
pdrive_fpdk45.add(gdstk.Reference(c_teamb_clone__inv1__pinv________, (0.055,0.0325)))
pdrive_fpdk45.add(gdstk.Reference(c_teamb_clone__inv2__pinv________, (0.8525,0.0325)))
pdrive_fpdk45.add(gdstk.Reference(c_teamb_clone__inv3__pinv________, (1.925,0.0325)))
pdrive_fpdk45.add(gdstk.Reference(c_teamb_clone__inv4__pinv________, (3.8225,0.0325)))
pdrive_fpdk45.add(gdstk.Label('VDD', (3.9325,1.8525), layer=11, texttype=2))
pdrive_fpdk45.add(gdstk.Label('VSS', (3.9325,0.0325), layer=11, texttype=2))
pdrive_fpdk45.add(gdstk.Label('A', (0.195,0.8975), layer=11, texttype=2))
pdrive_fpdk45.add(gdstk.Label('Z', (5.86,0.85), layer=11, texttype=2))

lib.write_gds('PDRIVE_FPDK45.gds')
